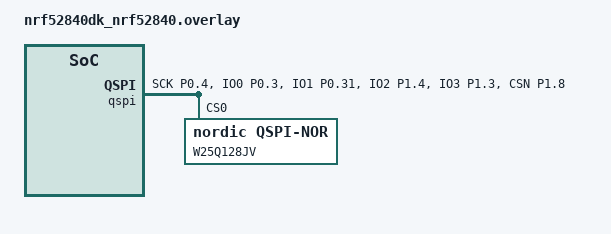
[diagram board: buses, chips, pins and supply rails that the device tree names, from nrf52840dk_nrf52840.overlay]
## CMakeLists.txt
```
# SPDX-License-Identifier: Apache-2.0

cmake_minimum_required(VERSION 3.20.0)

find_package(Zephyr REQUIRED HINTS $ENV{ZEPHYR_BASE})

project(hello_world)

if(DEFINED CONFIG_ROCKETZ_BOOTLOADER)
# Source files required for building the bootloader
file(GLOB rocketz_src src/rocket-z/*.c src/rocket-z/pem/*.c)
else()
# Sources needed for in-app API
file(GLOB_RECURSE rocketz_src src/boot-info-ctrl.c src/boot-log.c)
endif()

target_sources(
app PRIVATE ${rocketz_src}
src/main.c
src/arm_cleanup.c
)
```

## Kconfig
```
mainmenu "Rocketz configuration"

comment "Rocketz configuration options"

source "$(ZEPHYR_BASE)/Kconfig"


# Actual default values for RocketZ are in config.h

config USING_ROCKETZ
    bool "App is using Rocketz as a bootloader"
	default y

config ROCKETZ_BOOTLOADER
	bool "Build Rocketz bootloader"
	depends on USING_ROCKETZ
	default n

config ROCKETZ_BOOTLOG
	bool "Enable boot logs"
	depends on USING_ROCKETZ
	default y if ROCKETZ_BOOTLOADER
	default n

config ROCKETZ_DEBUG
	bool "Run in debug mode"
	depends on USING_ROCKETZ
	default n
	help
	  This option allows using debugger with the app.
	  App image will not be verified upon run.

config ROCKETZ_FLASH_BLOCK_SIZE
	int "Flash block size"
	default 4096
	depends on USING_ROCKETZ
	help
	  The size of the flash block in bytes.

config ROCKETZ_EXTERNAL_FLASH_BLOCK_SIZE
	int "External flash block size"
	default 65536
	depends on USING_ROCKETZ
	help
	  The size of the extrenal flash block in bytes.

config ROCKETZ_FLASH_WRITE_ALIGNMENT
	int "Flash write alignment"
	default 4
	depends on USING_ROCKETZ
	help
	  The alignment of the flash write in bytes.

config ROCKETZ_EXTERNAL_FLASH_WRITE_ALIGNMENT
	int "External flash write alignment"
	default 4
	depends on USING_ROCKETZ
	help
	  The alignment of the external flash write in bytes.

config ROCKETZ_APP_ADDR
	hex "Application address"
	default 0x10000
	depends on USING_ROCKETZ
	help
	  The address of the application in flash.

config ROCKETZ_DEFAULT_HEADER_SIZE
	int "Default image header size"
	default 1024
	depends on USING_ROCKETZ
	help
	  The default header size in bytes.

config ROCKETZ_INTERNAL_FLASH_SIZE
	int "Internal flash size"
	default 1048576 # 1MB
	depends on USING_ROCKETZ
	help
	  The size of the code space in bytes.

config ROCKETZ_EXTERNAL_FLASH_SIZE
	int "External flash size"
	default 134217728 # 128MB
	depends on USING_ROCKETZ
	help
		The size of the external flash in bytes.

config ROCKETZ_MAX_APPIMAGE_SIZE
	int "Maximum application image size"
	default 983040
	depends on USING_ROCKETZ
	help
	  The maximum size of the application image in bytes.
	  Must be less than or equal to the internal internal flash size - 3 * flash block size.

config ROCKETZ_INFO_ADDR
	hex "Boot info address"
	default 0xF000
	depends on USING_ROCKETZ
	help
	  The address of the boot info in flash. This info will be used to provide image information to bootloader and other startup configurations.
	  It spans 1 flash block.

config ROCKETZ_LOG_ADDR
	hex "Boot-log address"
	default 0xE000
	depends on USING_ROCKETZ
	help
	  The address of the boot logs in flash.
	  Bootloader will store a sequence of null-terminated strings in this region which spans 1 flash block.
	  These strings contain information, warning and error messages.

config ROCKETZ_KEY_ADDR
	hex "Bootloader private key address"
	default 0xD000
	depends on USING_ROCKETZ
	help
	  The address of the key in flash.
	  Bootloader will store a sequence of bytes in this region which spans 1 flash block.
	  These bytes contain the key used to encrypt the application image.

config ROCKETZ_BOOTLOADER_SIZE_MAX
	int "Maximum bootloader size"
	default 53248 # 0xD000
	depends on USING_ROCKETZ
	help
	  The maximum size of the bootloader code in bytes. Doesn't include boot-info, logs and key regions.

config ROCKETZ_NO_LOCK_HASH
	string "base64 SHA-256 of no-lock secret code"
	default ""
	help
	  A secret code can be stored in boot-info region to prevent bootloader from locking the flash.

config ROCKETZ_WDT_TIMEOUT_MINIMUM
	int "Minimum watchdog timeout period"
	default 3000
	depends on USING_ROCKETZ
	help
	  The minimum watchdog timeout in milliseconds.

config ROCKETZ_SIGNATURE_MESSAGE_MAX_SIZE
	int "Maximum signature message size"
	default 512
	depends on USING_ROCKETZ
	help
	  The maximum size of the signature message string in bytes.

config ROCKETZ_PRELOAD_CHECKSUM
	bool "Preload checksum"
	default n
	depends on USING_ROCKETZ
	help
	  Verify the integrity of the application image before loading it. This options adds safety but also increases the boot time.

config CLEANUP_ARM_CORE
	bool "Perform core cleanup before chain-load the application"
	default y
	depends on USING_ROCKETZ
	help
	  This option instructs bootloader to perform a clean-up of a set of
	  architecture core HW registers before junping to the application
	  firmware. The clean-up sets these registers to their warm-reset
	  values as specified by the architecture.

	  This option is enabled by default to prevent possible problems when
	  booting zephyr (or other) applications whereby e.g. a MPU stack guard
	  may be initialised in RAM which is then used by the application
	  start-up code which can cause a module fault and potentially make the
	  module irrecoverable.

config NRF_CLEANUP_PERIPHERAL
	bool "Perform peripheral cleanup before chain-load the application"
	default y
	depends on USING_ROCKETZ
```

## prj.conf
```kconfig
CONFIG_MAIN_STACK_SIZE=12288
CONFIG_MULTITHREADING=y
CONFIG_DEBUG_THREAD_INFO=y
CONFIG_DEBUG_OPTIMIZATIONS=y

# Required libraries
CONFIG_FLASH=y
CONFIG_TINYCRYPT=y
CONFIG_TINYCRYPT_AES_CBC=y
CONFIG_TINYCRYPT_AES=y
CONFIG_TINYCRYPT_SHA256=y
CONFIG_TINYCRYPT_ECC_DH=y
CONFIG_TINYCRYPT_ECC_DSA=y
CONFIG_FPROTECT=y
CONFIG_JSON_LIBRARY=y
CONFIG_BASE64=y
CONFIG_WATCHDOG=y

# Required for external flash memory
CONFIG_SPI=y
CONFIG_SPI_NOR=y
CONFIG_NORDIC_QSPI_NOR=y

# Bootloader configs
CONFIG_ROCKETZ_BOOTLOADER=y
CONFIG_CLEANUP_ARM_CORE=y
CONFIG_NRF_CLEANUP_PERIPHERAL=y

CONFIG_ROCKETZ_INTERNAL_FLASH_SIZE=512000
CONFIG_ROCKETZ_MAX_APPIMAGE_SIZE=499712
# CONFIG_ROCKETZ_EXTERNAL_FLASH_SIZE = 134217728
CONFIG_ROCKETZ_NO_LOCK_HASH="b6b902tvySphYN+xZUlHxj9+UiNJ5z6ZuC097gYDnfU="
```

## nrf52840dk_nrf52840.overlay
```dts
// To get started, press Ctrl+Space to bring up the completion menu and view the available nodes.

// You can also use the buttons in the sidebar to perform actions on nodes.
// Actions currently available include:

// * Enabling / disabling the node
// * Adding the bus to a bus
// * Removing the node
// * Connecting ADC channels

// For more help, browse the DeviceTree documentation at https: //docs.zephyrproject.org/latest/guides/dts/index.html
// You can also visit the nRF DeviceTree extension documentation at https: //nrfconnect.github.io/vscode-nrf-connect/devicetree/nrfdevicetree.html

/delete-node/ &mx25r64;
/ {
    chosen {
        zephyr,flash-controller = &flash_controller;
    };
};

&qspi {
    status = "okay";
    pinctrl-0 = <&qspi_default>;
    pinctrl-1 = <&qspi_sleep>;
    pinctrl-names = "default", "sleep";
    w25q128jv: w25q128jv@0 {
        compatible = "nordic,qspi-nor";
        label = "W25Q128JV";
        reg = <0>;
        sck-frequency = <50000000>;
        size = <134217728>;
        readoc = "read4io";
        writeoc = "pp4o";
        quad-enable-requirements = "S2B1v1";
        jedec-id = [ ef 70 18  ];
    };
};
&pinctrl {
    qspi_default: qspi_default {
        group1 {
            psels = <NRF_PSEL(QSPI_SCK, 0, 4)>,
                    <NRF_PSEL(QSPI_IO0, 0, 3)>,
                    <NRF_PSEL(QSPI_IO1, 0, 31)>,
                    <NRF_PSEL(QSPI_IO2, 1, 4)>,
                    <NRF_PSEL(QSPI_IO3, 1, 3)>,
                    <NRF_PSEL(QSPI_CSN, 1, 8)>;
            nordic,drive-mode = <NRF_DRIVE_H0H1>;
        };
    };

    qspi_sleep: qspi_sleep {
        group1 {
            psels = <NRF_PSEL(QSPI_SCK, 0, 4)>,
                    <NRF_PSEL(QSPI_IO0, 0, 3)>,
                    <NRF_PSEL(QSPI_IO1, 0, 31)>,
                    <NRF_PSEL(QSPI_IO2, 1, 4)>,
                    <NRF_PSEL(QSPI_IO3, 1, 3)>;
            low-power-enable;
        };
        group2 {
            psels = <NRF_PSEL(QSPI_CSN, 1, 8)>;
            low-power-enable;
            bias-pull-up;
        };
    };
};

/ {
    aliases {
        spi-flash0 = &w25q128jv;
    };
};
```

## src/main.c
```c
/*
 * Copyright (c) 2019 Nordic Semiconductor ASA
 *
 * SPDX-License-Identifier: Apache-2.0
 */

#include <zephyr/kernel.h>
#include <zephyr/data/json.h>
#include "string.h"
#include <zephyr/device.h>
#include <zephyr/devicetree.h>
#include <zephyr/drivers/flash.h>
#include <zephyr/fatal.h>
#include <fprotect.h>
#include <hal/nrf_clock.h>
#include <zephyr/drivers/watchdog.h>
#include "rocket-z/config.h"
#include "arm_cleanup.h"
#include "rocket-z/config.h"
#include <zephyr/sys/reboot.h>

#include "nrfx_wdt.h"

#include "rocket-z/bootloader.h"

#define FLASH_DEVICE DT_LABEL(DT_INST(0, nordic_qspi_nor))

static const struct device *internalFlashDeviceId;
static const struct device *externalFlashDeviceId;

int zephyrFlashReadExt(size_t address, void *data, size_t size)
{
	if (!device_is_ready(externalFlashDeviceId))
	{
		return BOOT_ERROR_UNKNOWN_DEVICE;
	}

	else
	{
		if (address + size > CONFIG_ROCKETZ_EXTERNAL_FLASH_SIZE)
		{
			return BOOT_ERROR_INVALID_ADDRESS;
		}

		if (fprotect_is_protected(address) & 2)
		{
			return BOOT_ERROR_MEMORY_LOCKED;
		}

		int res = flash_read(externalFlashDeviceId, address, data, size);
		return res >= 0 ? size : res;
	}
}

int zephyrFlashEraseExt(size_t address, size_t size)
{
	if (!device_is_ready(externalFlashDeviceId))
	{
		return BOOT_ERROR_UNKNOWN_DEVICE;
	}

	else
	{
		if (address + size > CONFIG_ROCKETZ_EXTERNAL_FLASH_SIZE)
		{
			return BOOT_ERROR_INVALID_ADDRESS;
		}

		if (fprotect_is_protected(address) & 1)
		{
			return BOOT_ERROR_MEMORY_LOCKED;
		}

		// allign the erase region with the ROCKETZ_EXTERNAL_FLASH_BLOCK_SIZE
		size = size % CONFIG_ROCKETZ_EXTERNAL_FLASH_BLOCK_SIZE ? size + CONFIG_ROCKETZ_EXTERNAL_FLASH_BLOCK_SIZE - size % CONFIG_ROCKETZ_EXTERNAL_FLASH_BLOCK_SIZE : size;

		int res = 0;

		// do erase in chunks of 8 blocks to prevent WDT triggering
		for (int i = 0; i < size;)
		{
			bootloader_wdtFeed();

			size_t eraseSize = MIN(size - i, CONFIG_ROCKETZ_EXTERNAL_FLASH_BLOCK_SIZE * 8);

			res = flash_erase(externalFlashDeviceId, address + i, eraseSize);
			if (res < 0)
			{
				return res;
			}

			i += eraseSize;
		}

		return res;
	}
}

int zephyrFlashWriteExt(size_t address, const void *data, size_t size)
{
	if (!device_is_ready(externalFlashDeviceId))
	{
		return BOOT_ERROR_UNKNOWN_DEVICE;
	}

	else
	{
		if (address + size > CONFIG_ROCKETZ_EXTERNAL_FLASH_SIZE)
		{
			return BOOT_ERROR_INVALID_ADDRESS;
		}

		if (fprotect_is_protected(address) & 1)
		{
			return BOOT_ERROR_MEMORY_LOCKED;
		}

		// data must be aligned in 4 bytes
		int actSize = size % CONFIG_ROCKETZ_EXTERNAL_FLASH_WRITE_ALIGNMENT ? size + CONFIG_ROCKETZ_EXTERNAL_FLASH_WRITE_ALIGNMENT - size % CONFIG_ROCKETZ_EXTERNAL_FLASH_WRITE_ALIGNMENT : size;

		int res = flash_write(externalFlashDeviceId, address, data, actSize);
		return res >= 0 ? size : res;
	}
}

int zephyrFlashLockExt(size_t address, size_t size, enum BootFlashLockType lockType)
{
	if (!device_is_ready(externalFlashDeviceId))
	{
		return BOOT_ERROR_UNKNOWN_DEVICE;
	}

	else
	{
		if (address + size > CONFIG_ROCKETZ_EXTERNAL_FLASH_SIZE)
		{
			return BOOT_ERROR_MEMORY_LOCKED;
		}

		// round size up to flash block size
		size = size % CONFIG_ROCKETZ_EXTERNAL_FLASH_BLOCK_SIZE ? size + CONFIG_ROCKETZ_EXTERNAL_FLASH_BLOCK_SIZE - size % CONFIG_ROCKETZ_EXTERNAL_FLASH_BLOCK_SIZE : size;
		return lockType == FLASH_LOCK_WRITE ? fprotect_area(address, size) : fprotect_area_no_access(address, size);
	}
}

int zephyrFlashRead(size_t address, void *data, size_t size)
{
	if (address + size > CONFIG_ROCKETZ_INTERNAL_FLASH_SIZE)
	{
		return BOOT_ERROR_INVALID_ADDRESS;
	}

	if (fprotect_is_protected(address) & 2)
	{
		return BOOT_ERROR_MEMORY_LOCKED;
	}

	int res = flash_read(internalFlashDeviceId, address, data, size);
	return res >= 0 ? size : res;
}

int zephyrFlashErase(size_t address, size_t size)
{
	if (address + size > CONFIG_ROCKETZ_INTERNAL_FLASH_SIZE)
	{
		return BOOT_ERROR_INVALID_ADDRESS;
	}

	if (fprotect_is_protected(address) & 1)
	{
		return BOOT_ERROR_MEMORY_LOCKED;
	}

	// allign the erase region with the CONFIG_ROCKETZ_FLASH_BLOCK_SIZE
	size = size % CONFIG_ROCKETZ_FLASH_BLOCK_SIZE ? size + CONFIG_ROCKETZ_FLASH_BLOCK_SIZE - size % CONFIG_ROCKETZ_FLASH_BLOCK_SIZE : size;

	int res = 0;

	// do erase in chunks of 8 blocks to prevent WDT triggering
	for (int i = 0; i < size;)
	{
		bootloader_wdtFeed();

		size_t eraseSize = MIN(size - i, CONFIG_ROCKETZ_FLASH_BLOCK_SIZE * 8);

		res = flash_erase(internalFlashDeviceId, address + i, eraseSize);
		if (res < 0)
		{
			return res;
		}

		i += eraseSize;
	}

	return res;
}

int zephyrFlashWrite(size_t address, const void *data, size_t size)
{
	if (address + size > CONFIG_ROCKETZ_INTERNAL_FLASH_SIZE)
	{
		return BOOT_ERROR_INVALID_ADDRESS;
	}

	if (fprotect_is_protected(address) & 1)
	{
		return BOOT_ERROR_MEMORY_LOCKED;
	}

	// data must be aligned in 4 bytes
	int actSize = size % CONFIG_ROCKETZ_FLASH_WRITE_ALIGNMENT ? size + CONFIG_ROCKETZ_FLASH_WRITE_ALIGNMENT - size % CONFIG_ROCKETZ_FLASH_WRITE_ALIGNMENT : size;
	int res = flash_write(internalFlashDeviceId, address, data, actSize);
	return res >= 0 ? actSize : res;
}

int zephyrFlashLock(size_t address, size_t size, enum BootFlashLockType lockType)
{
	if (address + size > CONFIG_ROCKETZ_INTERNAL_FLASH_SIZE)
	{
		return BOOT_ERROR_MEMORY_LOCKED;
	}

	// round size up to flash block size
	size = size % CONFIG_ROCKETZ_FLASH_BLOCK_SIZE ? size + CONFIG_ROCKETZ_FLASH_BLOCK_SIZE - size % CONFIG_ROCKETZ_FLASH_BLOCK_SIZE : size;
	return lockType == FLASH_LOCK_WRITE ? fprotect_area(address, size) : fprotect_area_no_access(address, size);
}

struct BootFlashDevice flashDevice_internalFlash = {
	.read = zephyrFlashRead,
	.erase = zephyrFlashErase,
	.write = zephyrFlashWrite,
	.lock = zephyrFlashLock,
};

struct BootFlashExtDevice flashDevice_externalFlash = {
	.read = zephyrFlashReadExt,
	.erase = zephyrFlashEraseExt,
	.write = zephyrFlashWriteExt,
	.lock = zephyrFlashLockExt,
};

struct BootFlashDevice *bootInfo_getFlashDevice(enum AppImageStorage storage)
{
	switch (storage)
	{
	case BOOT_IMG_STORAGE_INTERNAL_FLASH:
		return &flashDevice_internalFlash;
		break;

	case BOOT_IMG_STORAGE_EXTERNAL_FLASH:
		return &flashDevice_externalFlash;
		break;

	default:
		return &flashDevice_unknown;
		break;
	}
}

uint32_t wdtChannelCount;
uint32_t wdtTimeout;
uint32_t wdtOptions;
const struct device *wdt_dev;

bool bootloader_isAppSecure()
{
	return true;
}

void bootloader_wdtFeed()
{
	if (wdtChannelCount > 0)
	{
		for (int i = 0; i < wdtChannelCount; i++)
		{
			wdt_feed(wdt_dev, i);
		}
	}
}

#if 0
void k_sys_fatal_error_handler(unsigned int reason, const z_arch_esf_t *esf)
{
#ifdef _DEBUG
	__asm("bkpt");
	while (true)
	{
	}
#endif
	extern void k_sys_fatal_error_handler_mem(unsigned int reason, const z_arch_esf_t *esf);

	k_sys_fatal_error_handler_mem(reason, esf);
}
#endif

void bootloader_restart()
{
	k_msleep(3000);

	// reset the device
	sys_reboot(SYS_REBOOT_COLD);
}

void nrf_cleanup()
{
	nrf_clock_int_disable(NRF_CLOCK, 0xFFFFFFFF);
}

struct wdt_timeout_cfg wdt_settings = {
	.window = {
		.min = 0,
		.max = 1000000},
	.callback = NULL,
	.flags = WDT_FLAG_RESET_SOC,
};

void main(void)
{
	// Setup WDT
	if (((struct BootInfo *)(CONFIG_ROCKETZ_INFO_ADDR))->version == BOOT_VERSION_0_0)
	{
		wdtChannelCount = ((struct BootInfo *)(CONFIG_ROCKETZ_INFO_ADDR))->wdtChannelCount;
		wdtTimeout = ((struct BootInfo *)(CONFIG_ROCKETZ_INFO_ADDR))->wdtTimeout;
		wdtOptions = ((struct BootInfo *)(CONFIG_ROCKETZ_INFO_ADDR))->wdtOptions;

		if (wdtChannelCount > NRF_WDT_CHANNEL_NUMBER)
			wdtChannelCount = NRF_WDT_CHANNEL_NUMBER;

		wdt_settings.window.max = MAX(wdtTimeout, CONFIG_ROCKETZ_WDT_TIMEOUT_MINIMUM);
	}
	else
	{
		wdtChannelCount = 0;
	}

	if (wdtChannelCount > 0)
	{
		int res;

		wdt_dev = device_get_binding(DT_NODE_FULL_NAME(DT_ALIAS(watchdog0)));

		for (uint32_t i = wdtChannelCount; i > 0; i--)
		{
			res = wdt_install_timeout(wdt_dev, &wdt_settings);

			if (res < 0)
			{
				break;
			}

			wdt_feed(wdt_dev, res);
		}

		wdt_setup(wdt_dev, wdtOptions);
	}

#if 0 // For testing. changing WDT timeout

	struct wdt_nrfx_config
	{
		nrfx_wdt_t wdt;
		nrfx_wdt_config_t config;
	};

	wdt_feed(wdt_dev, 0);
	((struct wdt_nrfx_config *)(wdt_dev->config))->window.max = 10000;
#endif

	internalFlashDeviceId = device_get_binding(DT_NODE_FULL_NAME(DT_CHOSEN(zephyr_flash_controller)));
	externalFlashDeviceId = device_get_binding(FLASH_DEVICE);

	bootloader_run();

	// should not reach here
	while (true)
	{
	}
}

struct arm_vector_table
{
	uint32_t msp;
	uint32_t reset;
};

void bootloader_jump(size_t offset)
{
	struct arm_vector_table *vt;

	/* The beginning of the image is the ARM vector table, containing
	 * the initial stack pointer address and the reset vector
	 * consecutively. Manually set the stack pointer and jump into the
	 * reset vector
	 */

	vt = (struct arm_vector_table *)(offset);

	if (IS_ENABLED(CONFIG_SYSTEM_TIMER_HAS_DISABLE_SUPPORT))
	{
		sys_clock_disable();
	}

#if CONFIG_NRF_CLEANUP_PERIPHERAL
	nrf_cleanup();
#endif

#if CONFIG_CLEANUP_ARM_CORE
	cleanup_arm_nvic(); /* cleanup NVIC registers */

#ifdef CONFIG_CPU_CORTEX_M_HAS_CACHE
	/* Disable instruction cache and data cache before chain-load the application */
	SCB_DisableDCache();
	SCB_DisableICache();
#endif

#if CONFIG_CPU_HAS_ARM_MPU || CONFIG_CPU_HAS_NXP_MPU
	z_arm_clear_arm_mpu_config();
#endif

#if defined(CONFIG_BUILTIN_STACK_GUARD) && \
	defined(CONFIG_CPU_CORTEX_M_HAS_SPLIM)
	/* Reset limit registers to avoid inflicting stack overflow on image
	 * being booted.
	 */
	__set_PSPLIM(0);
	__set_MSPLIM(0);
#endif

#else
	irq_lock();
#endif /* CONFIG_CLEANUP_ARM_CORE */

#ifdef CONFIG_BOOT_INTR_VEC_RELOC
#if defined(CONFIG_SW_VECTOR_RELAY)
	_vector_table_pointer = vt;
#ifdef CONFIG_CPU_CORTEX_M_HAS_VTOR
	SCB->VTOR = (uint32_t)__vector_relay_table;
#endif
#elif defined(CONFIG_CPU_CORTEX_M_HAS_VTOR)
	SCB->VTOR = (uint32_t)vt;
#endif /* CONFIG_SW_VECTOR_RELAY */
#else  /* CONFIG_BOOT_INTR_VEC_RELOC */
#if defined(CONFIG_CPU_CORTEX_M_HAS_VTOR) && defined(CONFIG_SW_VECTOR_RELAY)
	_vector_table_pointer = _vector_start;
	SCB->VTOR = (uint32_t)__vector_relay_table;
#endif
#endif /* CONFIG_BOOT_INTR_VEC_RELOC */

	__set_MSP(vt->msp);
#if CONFIG_CLEANUP_ARM_CORE
	__set_CONTROL(0x00); /* application will configures core on its own */
	__ISB();
#endif
	((void (*)(void))vt->reset)();
}
```
